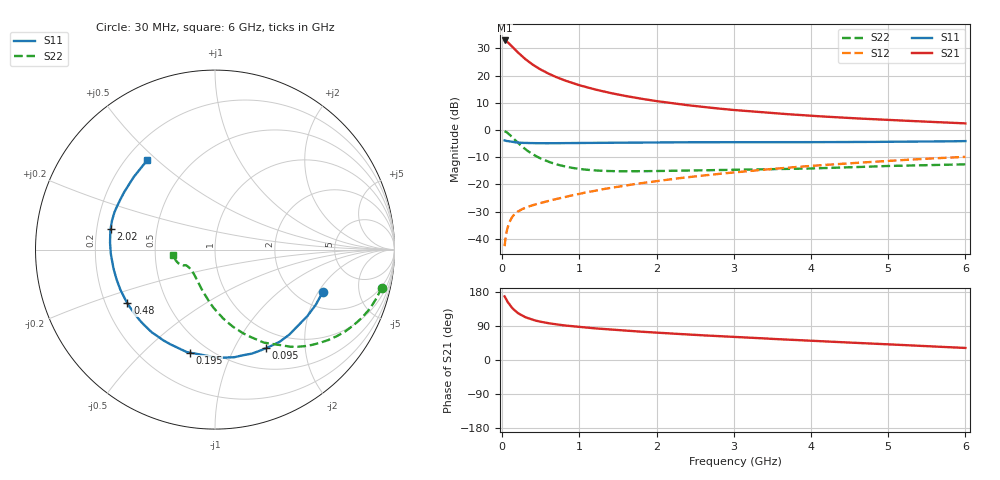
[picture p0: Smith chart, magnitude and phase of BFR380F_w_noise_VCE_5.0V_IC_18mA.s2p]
! Infineon Technologies  Discrete & RF Semiconductors
! BFR380F
! VCE =  5.0 V,  IC =  18 mA
! Common Emitter S-Parameters:  Nov 2015
# GHz  S  MA  R  50
!  f  S11  S21  S12  S22
! GHz  MAG  ANG  MAG  ANG  MAG  ANG  MAG  ANG
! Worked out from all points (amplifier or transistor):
!   206 points, 30 MHz to 6 GHz, reference 50 ohm
!   highest |S21| = 33.0 dB at 30 MHz (marker M1)
!   |S21| within 3 dB of that: start of sweep to 154.2 MHz
!   unconditionally stable (mu >= 1): 1.44 GHz to 5.021 GHz
!   at 200 MHz: K = 0.34, MSG = 29.3 dB, |S12| = -30.0 dB
!   at 1.56 GHz: K = 1.01, MAG = 16.0 dB, |S12| = -20.6 dB
!   at 6 GHz: K = 0.98, MSG = 6.2 dB, |S12| = -9.9 dB
!   lowest NFmin = 1.00 dB at 900 MHz
!   S11 on the Smith chart (normalised r, x): 30 MHz: 2.70, -2.19; 95 MHz: 0.76, -1.34; 195 MHz: 0.40, -0.70; 480 MHz: 0.29, -0.26; 2.02 GHz: 0.26, +0.09; 6 GHz: 0.28, +0.47
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0.03  0.6447 -21.6  44.46 167.8  0.0073 80.5  0.9532 -12.8
0.05  0.6341 -35.7  43.21 160.0  0.0121 75.2  0.9235 -20.9
0.07  0.6291 -48.8  41.12 153.2  0.0161 70.4  0.8804 -28.5
0.095  0.6178 -62.9  38.19 145.9  0.0204 65.2  0.8197 -37.0
0.12  0.6088 -75.4  35.23 139.3  0.0239 60.8  0.7575 -44.5
0.14  0.6047 -84.4  32.98 134.9  0.0264 58.0  0.7099 -49.7
0.15  0.6029 -88.5  31.91 132.7  0.0274 56.8  0.687 -52.0
0.195  0.5907 -103.8  27.43 125.0  0.0312 52.9  0.5943 -61.1
0.24  0.5832 -115.3  23.88 119.2  0.0341 50.7  0.5202 -68.4
0.3  0.58 -127.6  20.1 112.8  0.0372 49.2  0.4423 -76.8
0.4  0.5737 -141.1  15.77 105.7  0.0416 49.2  0.3549 -87.1
0.48  0.5722 -148.6  13.42 101.7  0.0448 50.2  0.3081 -93.8
0.6  0.5726 -157.0  10.88 97.0  0.0497 52.2  0.2603 -102.2
0.7  0.5731 -162.1  9.406 94.0  0.0539 53.9  0.2339 -108.3
0.9  0.5753 -169.6  7.385 89.1  0.0626 57.0  0.202 -118.2
1.04  0.5768 -173.7  6.428 86.4  0.069 58.7  0.1894 -124.0
1.4  0.5836 178.4  4.803 80.3  0.086 61.8  0.1757 -135.7
2.02  0.5926 168.9  3.375 72.0  0.1164 64.1  0.1762 -145.7
3.1  0.5968 157.1  2.276 60.0  0.1713 64.0  0.1865 -152.2
4.1  0.5989 146.7  1.794 49.8  0.2239 61.3  0.1981 -153.9
5.1  0.608 137.0  1.511 40.4  0.2757 57.7  0.2197 -160.6
6  0.6257 127.0  1.325 31.8  0.3208 53.1  0.2338 -172.0
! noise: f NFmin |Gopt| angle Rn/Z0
0.45  1.04  0.18  170  0.08
0.9  1  0.24  167  0.08
1.8  1.24  0.35  -178  0.07
1.9  1.31  0.36  -178  0.07
2.4  1.41  0.39  -167  0.08
3.5  2.01  0.48  -154  0.12
